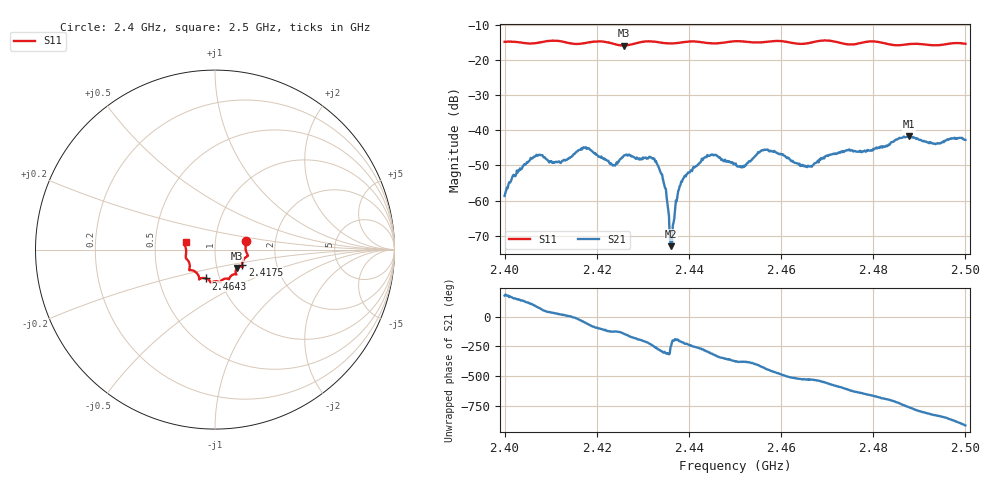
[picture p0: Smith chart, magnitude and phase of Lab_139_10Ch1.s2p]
# Hz S RI R 50
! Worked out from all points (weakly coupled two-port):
!   601 points, 2.4 GHz to 2.5 GHz, reference 50 ohm
!   highest |S21| = -41.71 dB at 2.4877 GHz (marker M1); lowest = -73.0 dB at 2.4362 GHz (marker M2)
!   lowest |S11| = -15.9 dB at 2.4258 GHz (marker M3), VSWR 1.38, Z = 62.3 - j13.2 ohm
!   |S11| at or under -10 dB: start of sweep to end of sweep
!   S12 and S22 are empty: the file has one direction only
!   S11 on the Smith chart (normalised r, x): 2.4 GHz: 1.41, +0.14; 2.4175 GHz: 1.34, -0.23; 2.4643 GHz: 0.86, -0.29; 2.5 GHz: 0.72, +0.06
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2.4e9  0.1733 0.0492  -0.00116 0.000112  0 0  0 0
2.406167e9  0.1707 0.000209  -0.000534 0.00401  0 0  0 0
2.411833e9  0.1814 -0.0364  0.0034 0.00116  0 0  0 0
2.416667e9  0.1528 -0.0741  0.00452 -0.00314  0 0  0 0
2.4175e9  0.1519 -0.0836  0.0035 -0.00438  0 0  0 0
2.4235e9  0.1418 -0.0936  -0.00187 -0.00252  0 0  0 0
2.425833e9  0.1218 -0.103  -0.00339 -0.00266  0 0  0 0
2.431833e9  0.119 -0.1392  -0.00239 0.00332  0 0  0 0
2.433333e9  0.1134 -0.1372  0.000172 0.00307  0 0  0 0
2.434667e9  0.1048 -0.1375  0.000686 0.0015  0 0  0 0
2.436167e9  0.0929 -0.1434  -0.000107 0.000197  0 0  0 0
2.437667e9  0.0836 -0.1525  -0.00131 0.000327  0 0  0 0
2.439333e9  0.0798 -0.1612  -0.00147 0.00164  0 0  0 0
2.4445e9  0.0601 -0.1612  0.00219 0.00373  0 0  0 0
2.45e9  0.0288 -0.1815  0.0032 -0.000663  0 0  0 0
2.451833e9  0.0232 -0.1806  0.00297 -0.000944  0 0  0 0
2.456667e9  -0.0117 -0.1793  0.00141 -0.00507  0 0  0 0
2.464333e9  -0.0499 -0.1608  -0.00304 -0.001  0 0  0 0
2.466667e9  -0.0764 -0.1593  -0.00294 -0.000685  0 0  0 0
2.483333e9  -0.1407 -0.0897  0.00559 0.00278  0 0  0 0
2.487667e9  -0.1588 -0.0516  0.00673 -0.00471  0 0  0 0
2.5e9  -0.1635 0.0426  -0.0072 0.00103  0 0  0 0
